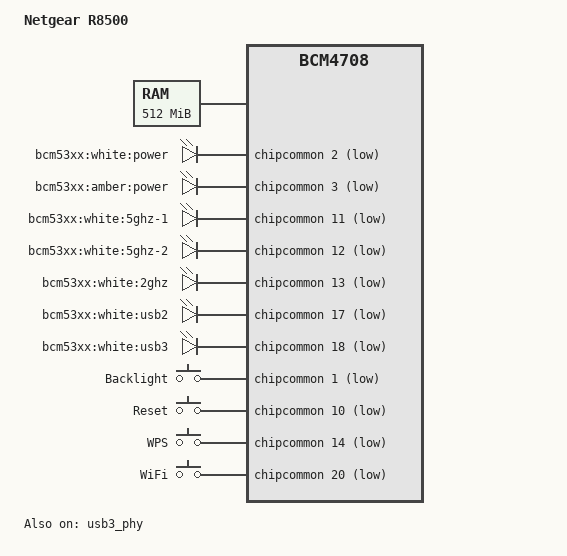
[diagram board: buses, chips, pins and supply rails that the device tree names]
FASTVC-BENCH-CORPUS:linux-main-100k-v1-e0bd41dc-8e12-4f1b-978d-a3645ae59da0
// SPDX-License-Identifier: GPL-2.0-or-later OR MIT
/*
 * Copyright (C) 2016 Rafał Miłecki <rafal@milecki.pl>
/* bench 17718.1.0 f15c491622b1 */
/* bench 17718.1.1 8a942a87f87e */
/* bench 17718.1.2 839839339636 */
/* bench 17718.1.3 c7fd6f770a19 */
/* bench 17718.1.4 db4a853522c9 */
/* bench 17718.1.5 ec4857922c16 */
/* bench 17718.1.6 54b919ee859c */
/* bench 17718.1.7 092878c63ba2 */
/* bench 17718.1.8 2ff826a8ae5e */

#include "bcm47094.dtsi"
#include "bcm5301x-nand-cs0-bch8.dtsi"

/ {
	compatible = "netgear,r8500", "brcm,bcm47094", "brcm,bcm4708";
	model = "Netgear R8500";

	chosen {
		bootargs = "console=ttyS0,115200";
	};

	memory@0 {
		device_type = "memory";
		reg = <0x00000000 0x08000000
		       0x88000000 0x18000000>;
	};

	leds {
		compatible = "gpio-leds";

		power0 {
			label = "bcm53xx:white:power";
			gpios = <&chipcommon 2 GPIO_ACTIVE_LOW>;
			linux,default-trigger = "default-on";
		};

		power1 {
			label = "bcm53xx:amber:power";
			gpios = <&chipcommon 3 GPIO_ACTIVE_LOW>;
		};

		5ghz-1 {
			label = "bcm53xx:white:5ghz-1";
			gpios = <&chipcommon 11 GPIO_ACTIVE_LOW>;
		};

		5ghz-2 {
			label = "bcm53xx:white:5ghz-2";
			gpios = <&chipcommon 12 GPIO_ACTIVE_LOW>;
		};

		2ghz {
			label = "bcm53xx:white:2ghz";
			gpios = <&chipcommon 13 GPIO_ACTIVE_LOW>;
		};

		usb2 {
			label = "bcm53xx:white:usb2";
			gpios = <&chipcommon 17 GPIO_ACTIVE_LOW>;
		};

		usb3 {
			label = "bcm53xx:white:usb3";
			gpios = <&chipcommon 18 GPIO_ACTIVE_LOW>;
		};
	};

	gpio-keys {
		compatible = "gpio-keys";

		brightness {
			label = "Backlight";
			linux,code = <KEY_BRIGHTNESS_ZERO>;
			gpios = <&chipcommon 1 GPIO_ACTIVE_LOW>;
		};

		restart {
			label = "Reset";
			linux,code = <KEY_RESTART>;
			gpios = <&chipcommon 10 GPIO_ACTIVE_LOW>;
		};

		wps {
			label = "WPS";
			linux,code = <KEY_WPS_BUTTON>;
			gpios = <&chipcommon 14 GPIO_ACTIVE_LOW>;
		};

		rfkill {
			label = "WiFi";
			linux,code = <KEY_RFKILL>;
			gpios = <&chipcommon 20 GPIO_ACTIVE_LOW>;
		};
	};
};

&usb3_phy {
	status = "okay";
};
